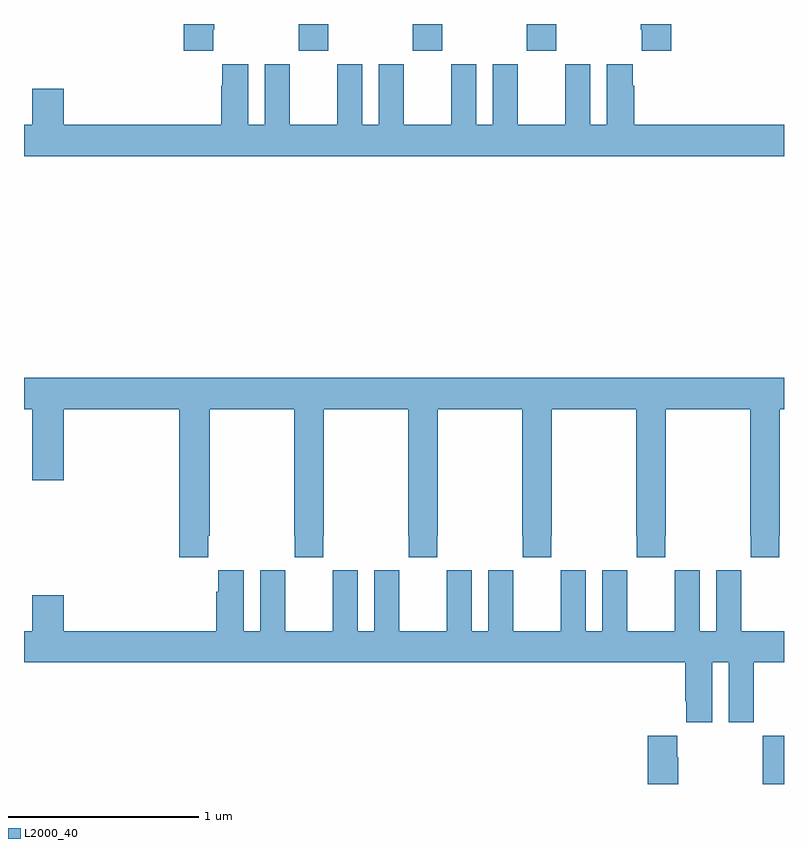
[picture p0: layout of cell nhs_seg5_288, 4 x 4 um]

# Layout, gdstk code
import gdstk
lib = gdstk.Library(unit=1e-6, precision=1e-09)
def R(c, l, rs):  # rectangles x0, y0, x1, y1
    for r in rs: c.add(gdstk.rectangle(r[:2], r[2:], *l))
def A(c, l, x, y, w, h, nx, ny, dx, dy):  # array of equal rectangles
    R(c, l, [(x+i*dx, y+j*dy, x+i*dx+w, y+j*dy+h) for i in range(nx) for j in range(ny)])
def P(c, l, *ps):  # polygons
    for p in ps: c.add(gdstk.Polygon(p, *l))
L2000_40 = (2000, 40)

nhs_seg5_288 = lib.new_cell('nhs_seg5_288')
A(nhs_seg5_288, L2000_40, 130.447, 846.657, 0.155, 0.142, 3, 1, 0.6, 0)
R(nhs_seg5_288, L2000_40, [(132.889,842.799,133,843.052)])
P(nhs_seg5_288, L2000_40, [(132.407,846.799),(132.247,846.799),(132.247,846.769),(132.251,846.769),(132.251,846.657),(132.407,846.657)],
  [(129.997,846.769),(130.002,846.769),(130.002,846.799),(129.842,846.799),(129.842,846.657),(129.997,846.657)],
  [(133,846.268),(132.212,846.268),(132.212,846.473),(132.205,846.473),(132.205,846.586),(132.068,846.586),(132.068,846.268),(131.98,846.268),(131.98,846.586),(131.849,846.586),(131.849,846.268),(131.599,846.268),(131.599,846.586),(131.468,846.586),(131.468,846.268),(131.38,846.268),(131.38,846.586),(131.249,846.586),(131.249,846.268),(130.999,846.268),(130.999,846.586),(130.868,846.586),(130.868,846.268),(130.78,846.268),(130.78,846.586),(130.649,846.586),(130.649,846.268),(130.399,846.268),(130.399,846.586),(130.268,846.586),(130.268,846.268),(130.18,846.268),(130.18,846.586),(130.043,846.586),(130.043,846.473),(130.037,846.473),(130.037,846.268),(129.208,846.268),(129.208,846.457),(129.044,846.457),(129.044,846.268),(129,846.268),(129,846.104),(133,846.104)],
  [(129.971,844.105),(129.977,844.105),(129.977,844.772),(130.423,844.772),(130.423,844.105),(130.425,844.105),(130.425,843.993),(130.575,843.993),(130.575,844.105),(130.578,844.105),(130.578,844.772),(131.023,844.772),(131.023,844.105),(131.025,844.105),(131.025,843.993),(131.175,843.993),(131.175,844.105),(131.178,844.105),(131.178,844.772),(131.623,844.772),(131.623,844.105),(131.625,844.105),(131.625,843.993),(131.775,843.993),(131.775,844.105),(131.778,844.105),(131.778,844.772),(132.223,844.772),(132.223,844.105),(132.225,844.105),(132.225,843.993),(132.375,843.993),(132.375,844.105),(132.378,844.105),(132.378,844.772),(132.823,844.772),(132.823,844.105),(132.825,844.105),(132.825,843.993),(132.975,843.993),(132.975,844.105),(132.978,844.105),(132.978,844.772),(133,844.772),(133,844.936),(129,844.936),(129,844.772),(129.044,844.772),(129.044,844.398),(129.208,844.398),(129.208,844.772),(129.818,844.772),(129.818,843.993),(129.971,843.993)],
  [(132.479,843.235),(132.485,843.235),(132.485,843.123),(132.622,843.123),(132.622,843.44),(132.71,843.44),(132.71,843.123),(132.841,843.123),(132.841,843.44),(133,843.44),(133,843.604),(132.775,843.604),(132.775,843.812),(132.774,843.812),(132.774,843.925),(132.644,843.925),(132.644,843.604),(132.556,843.604),(132.556,843.925),(132.426,843.925),(132.426,843.812),(132.425,843.812),(132.425,843.604),(132.175,843.604),(132.175,843.812),(132.174,843.812),(132.174,843.925),(132.044,843.925),(132.044,843.604),(131.956,843.604),(131.956,843.925),(131.826,843.925),(131.826,843.812),(131.825,843.812),(131.825,843.604),(131.575,843.604),(131.575,843.812),(131.574,843.812),(131.574,843.925),(131.444,843.925),(131.444,843.604),(131.356,843.604),(131.356,843.925),(131.226,843.925),(131.226,843.812),(131.225,843.812),(131.225,843.604),(130.975,843.604),(130.975,843.812),(130.974,843.812),(130.974,843.925),(130.844,843.925),(130.844,843.604),(130.756,843.604),(130.756,843.925),(130.626,843.925),(130.626,843.812),(130.625,843.812),(130.625,843.604),(130.375,843.604),(130.375,843.812),(130.374,843.812),(130.374,843.925),(130.244,843.925),(130.244,843.604),(130.156,843.604),(130.156,843.925),(130.022,843.925),(130.022,843.812),(130.013,843.812),(130.013,843.604),(129.208,843.604),(129.208,843.793),(129.044,843.793),(129.044,843.604),(129,843.604),(129,843.44),(132.479,843.44)],
  [(132.444,842.939),(132.439,842.939),(132.439,843.052),(132.284,843.052),(132.284,842.799),(132.444,842.799)])

lib.write_gds('nhs_seg5_288.gds')
